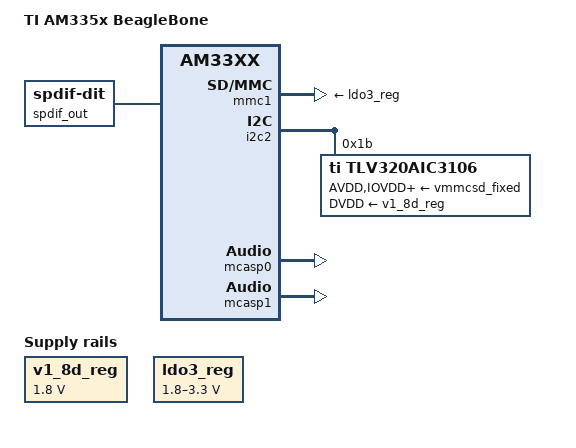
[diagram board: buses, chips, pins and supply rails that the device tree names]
// SPDX-License-Identifier: GPL-2.0-only
/*
 * Copyright (C) 2012 Texas Instruments Incorporated - https://www.ti.com/
 */
/dts-v1/;

#include "am33xx.dtsi"
#include "am335x-bone-common.dtsi"
#include <dt-bindings/sound/ti-mcasp.h>

/ {
	model = "TI AM335x BeagleBone";
	compatible = "ti,am335x-bone", "ti,am33xx";

	v1_8d_reg: fixedregulator-v1_8d {
		compatible = "regulator-fixed";
		regulator-name = "v1_8d";
		regulator-min-microvolt = <1800000>;
		regulator-max-microvolt = <1800000>;
	};

	dummy_codec0: dummy_codec@0 {
		compatible = "linux,snd-soc-dummy";
		#sound-dai-cells = <0>;
	};

	spdif_out: spdif-out {
		#sound-dai-cells = <0>;
		compatible = "linux,spdif-dit";
	};

	sound0: sound@0 {
		compatible = "simple-audio-card";
		simple-audio-card,name = "BeagleBone-Cape";
		simple-audio-card,widgets =
			"Headphone", "Headphone Jack",
			"Line", "Line In";
		simple-audio-card,routing =
			"Headphone Jack",	"HPLOUT",
			"Headphone Jack",	"HPROUT",
			"LINE1L",		"Line In",
			"LINE1R",		"Line In";
		simple-audio-card,format = "i2s";
		simple-audio-card,bitclock-master = <&sound0_master>;
		simple-audio-card,frame-master = <&sound0_master>;

		status = "okay";

		sound0_master: simple-audio-card,cpu {
			sound-dai = <&mcasp0>;
			system-clock-frequency = <24000000>;
			system-clock-id = <MCASP_CLK_HCLK_AUXCLK>;
		};

		simple-audio-card,codec {
			sound-dai = <&tlv320aic3106>;
			clocks = <&clkout2_ck>;
		};
	};

	sound1: sound@1 {
		compatible = "simple-audio-card";
		simple-audio-card,name = "BeagleBone-dummy";
		simple-audio-card,widgets =
			"Speaker", "Speaker Port";
		simple-audio-card,routing =
			"Speaker Port",	"OUT",
			"Speaker Port",	"OUT";
		simple-audio-card,format = "dsp_a";
		simple-audio-card,bitclock-master = <&sound1_master>;
		simple-audio-card,frame-master = <&sound1_master>;

		status = "disabled";

		sound1_master: simple-audio-card,cpu {
			sound-dai = <&mcasp0>;
			system-clock-frequency = <24000000>;
			system-clock-id = <MCASP_CLK_HCLK_AUXCLK>;
			dai-tdm-slot-num = <8>;
			dai-tdm-slot-width = <32>;
			dai-tdm-slot-tx-mask = <1 1 1 1 1 1 1 1>;
			dai-tdm-slot-rx-mask = <1 1 1 1 1 1>;
		};

		simple-audio-card,codec {
			sound-dai = <&dummy_codec0>;
		};
	};

	sound4: sound@4 {
		compatible = "simple-audio-card";
		simple-audio-card,name = "BeagleBone-spdif";
		simple-audio-card,format = "dsp_b";
		simple-audio-card,bitclock-master = <&sound4_master>;
		simple-audio-card,frame-master = <&sound4_master>;

		status = "okay";

		sound4_master: simple-audio-card,cpu {
			sound-dai = <&mcasp1>;
			system-clock-frequency = <24000000>;
			system-clock-id = <MCASP_CLK_HCLK_AUXCLK>;
		};

		simple-audio-card,codec {
			sound-dai = <&spdif_out>;
		};
	};
};

&am33xx_pinmux {
	mcasp0_pins: mcasp0_pins {
		pinctrl-single,pins = <
			AM33XX_PADCONF(AM335X_PIN_MCASP0_FSX, PIN_INPUT_PULLDOWN, MUX_MODE0) /* mcasp0_fsx */
			AM33XX_PADCONF(AM335X_PIN_MCASP0_ACLKX, PIN_INPUT_PULLDOWN, MUX_MODE0) /* mcasp0_aclkx */
//			AM33XX_PADCONF(AM335X_PIN_MCASP0_AHCLKX, PIN_OUTPUT_PULLDOWN, MUX_MODE2) /* mcasp0_axr3 */
			AM33XX_PADCONF(AM335X_PIN_MCASP0_AHCLKR, PIN_INPUT_PULLDOWN, MUX_MODE2) /* mcasp0_axr2 */
		>;
	};

	mcasp0_pins_sleep: mcasp0_pins_sleep {
		pinctrl-single,pins = <
			AM33XX_PADCONF(AM335X_PIN_MCASP0_FSX, PIN_INPUT_PULLDOWN, MUX_MODE7)
			AM33XX_PADCONF(AM335X_PIN_MCASP0_ACLKX, PIN_INPUT_PULLDOWN, MUX_MODE7)
//			AM33XX_PADCONF(AM335X_PIN_MCASP0_AHCLKX, PIN_INPUT_PULLDOWN, MUX_MODE7)
//			AM33XX_PADCONF(AM335X_PIN_MCASP0_AHCLKX, PIN_OUTPUT_PULLDOWN, MUX_MODE3) /* mcasp1_axr1 */
			AM33XX_PADCONF(AM335X_PIN_MCASP0_AHCLKR, PIN_INPUT_PULLDOWN, MUX_MODE7)
		>;
	};

	mcasp1_pins: mcasp1_pins {
		pinctrl-single,pins = <
			AM33XX_PADCONF(AM335X_PIN_MCASP0_FSR, PIN_OUTPUT_PULLDOWN, MUX_MODE3) /* mcasp1_fsx */
			AM33XX_PADCONF(AM335X_PIN_MCASP0_ACLKR, PIN_OUTPUT_PULLDOWN, MUX_MODE3) /* mcasp1_aclkx */
			AM33XX_PADCONF(AM335X_PIN_MCASP0_AXR1, PIN_OUTPUT_PULLDOWN, MUX_MODE3) /* mcasp1_axr0 */
			AM33XX_PADCONF(AM335X_PIN_MCASP0_AHCLKX, PIN_OUTPUT_PULLDOWN, MUX_MODE3) /* mcasp1_axr1 */
		>;
	};

	mcasp1_pins_sleep: mcasp1_pins_sleep {
		pinctrl-single,pins = <
			AM33XX_PADCONF(AM335X_PIN_MCASP0_FSR, PIN_INPUT_PULLDOWN, MUX_MODE7) /* mcasp1_fsx */
			AM33XX_PADCONF(AM335X_PIN_MCASP0_ACLKR, PIN_INPUT_PULLDOWN, MUX_MODE7) /* mcasp1_aclkx */
			AM33XX_PADCONF(AM335X_PIN_MCASP0_AXR1, PIN_INPUT_PULLDOWN, MUX_MODE7) /* mcasp1_axr0 */
			AM33XX_PADCONF(AM335X_PIN_MCASP0_AHCLKX, PIN_INPUT_PULLDOWN, MUX_MODE7) /* mcasp1_axr1 */
			AM33XX_PADCONF(AM335X_PIN_ECAP0_IN_PWM0_OUT, PIN_OUTPUT, MUX_MODE7) /* gpio0_7 */
		>;
	};
};

&sysclkout_pre_ck {
	assigned-clocks = <&sysclkout_pre_ck>;
	assigned-clock-parents = <&lcd_gclk>;
};

&clkout2_div_ck {
	assigned-clocks = <&clkout2_div_ck>;
//	assigned-clock-rates = <8000000>; /* 8MHz */
	assigned-clock-rates = <12000000>; /* 12MHz */
};

&ldo3_reg {
	regulator-min-microvolt = <1800000>;
	regulator-max-microvolt = <3300000>;
	regulator-always-on;
};

&mmc1 {
	vmmc-supply = <&ldo3_reg>;
};

&i2c2 {
	tlv320aic3106: tlv320aic3106@1b {
		#sound-dai-cells = <0>;
		compatible = "ti,tlv320aic3106";
		reg = <0x1b>;
		status = "okay";
		adc-settle-ms = <40>;

		AVDD-supply = <&vmmcsd_fixed>;
		IOVDD-supply = <&vmmcsd_fixed>;
		DRVDD-supply = <&vmmcsd_fixed>;
		DVDD-supply = <&v1_8d_reg>;
	};

	tlv320aic3253: tlv320aic3253@18 {
		#sound-dai-cells = <0>;
		compatible = "ti,tlv320aic3253";
		reg = <0x18>;
//		status = "okay";
		status = "disabled";
	};
};

&mcasp0 {
	#sound-dai-cells = <0>;
	pinctrl-names = "default", "sleep";
	pinctrl-0 = <&mcasp0_pins>;
	pinctrl-1 = <&mcasp0_pins_sleep>;

	status = "okay";

	op-mode = <0>;	/* MCASP_IIS_MODE */
	tdm-slots = <2>;
	/* 4 serializers */
	serial-dir = <	/* 0: INACTIVE, 1: TX, 2: RX */
		0 0 2 1
	>;
	tx-num-evt = <32>;
	rx-num-evt = <32>;
};

&mcasp1 {
	#sound-dai-cells = <0>;
	pinctrl-names = "default", "sleep";
	pinctrl-0 = <&mcasp1_pins>;
	pinctrl-1 = <&mcasp1_pins_sleep>;

	status = "okay";

	op-mode = <1>;		/* MCASP_DIT_MODE */
	/* 4 serializers */
	serial-dir = <	/* 0: INACTIVE, 1: TX, 2: RX */
		0 1 0 0
	>;
	tx-num-evt = <32>;
	rx-num-evt = <32>;
};
